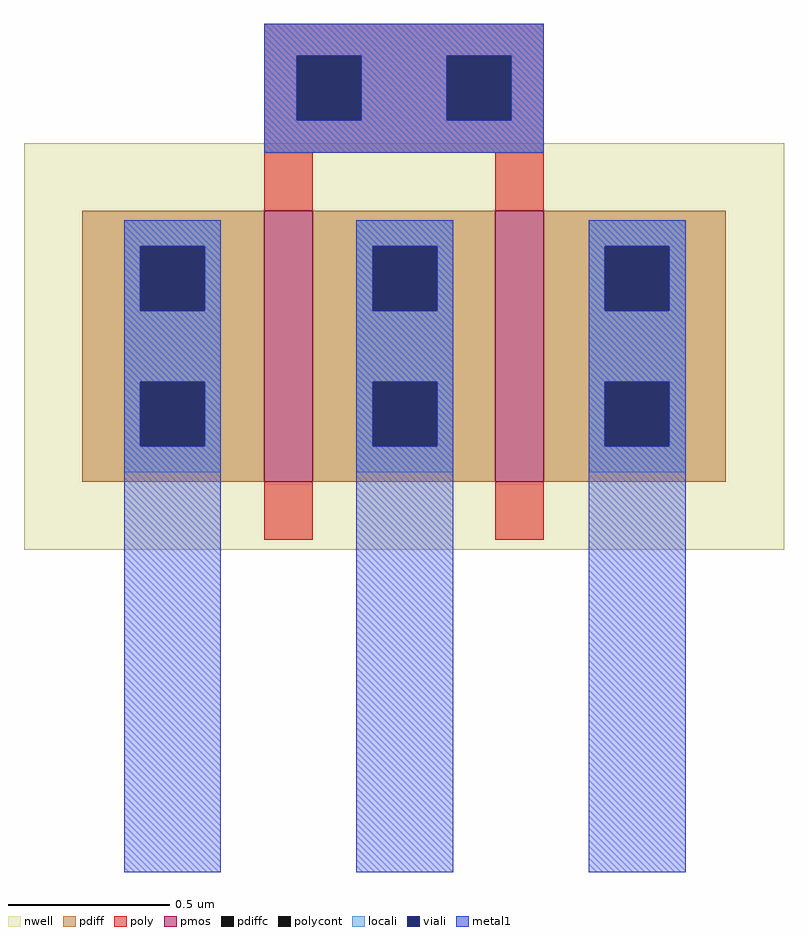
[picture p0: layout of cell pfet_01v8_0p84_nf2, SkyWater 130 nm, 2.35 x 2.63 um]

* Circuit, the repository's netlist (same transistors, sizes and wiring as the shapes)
* NGSPICE file created from pfet_01v8_0p84_nf2.ext - technology: sky130A

.subckt pfet_01v8_0p84_nf2
X0 a_143_0# a_113_n36# a_0_0# w_n36_n42# sky130_fd_pr__pfet_01v8 ad=0.237 pd=1.4 as=0.475 ps=2.81 w=0.84 l=0.15
X1 a_286_0# a_113_n36# a_143_0# w_n36_n42# sky130_fd_pr__pfet_01v8 ad=0.475 pd=2.81 as=0.237 ps=1.4 w=0.84 l=0.15
.ends

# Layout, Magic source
magic
tech sky130A
magscale 1 2
<< nwell >>
rect -92 395 379 647
<< pmos >>
rect 57 437 87 605
rect 200 437 230 605
<< pdiff >>
rect -56 583 57 605
rect -56 543 -20 583
rect 20 543 57 583
rect -56 499 57 543
rect -56 459 -20 499
rect 20 459 57 499
rect -56 437 57 459
rect 87 583 200 605
rect 87 543 124 583
rect 164 543 200 583
rect 87 499 200 543
rect 87 459 124 499
rect 164 459 200 499
rect 87 437 200 459
rect 230 583 343 605
rect 230 543 268 583
rect 308 543 343 583
rect 230 499 343 543
rect 230 459 268 499
rect 308 459 343 499
rect 230 437 343 459
<< pdiffc >>
rect -20 543 20 583
rect -20 459 20 499
rect 124 543 164 583
rect 124 459 164 499
rect 268 543 308 583
rect 268 459 308 499
<< poly >>
rect 57 701 230 721
rect 57 661 77 701
rect 117 661 170 701
rect 210 661 230 701
rect 57 641 230 661
rect 57 605 87 641
rect 200 605 230 641
rect 57 401 87 437
rect 200 401 230 437
<< polycont >>
rect 77 661 117 701
rect 170 661 210 701
<< locali >>
rect 57 701 230 721
rect 57 661 77 701
rect 117 661 170 701
rect 210 661 230 701
rect 57 641 230 661
rect -30 583 30 599
rect -30 543 -20 583
rect 20 543 30 583
rect -30 499 30 543
rect -30 459 -20 499
rect 20 459 30 499
rect -30 443 30 459
rect 114 583 174 599
rect 114 543 124 583
rect 164 543 174 583
rect 114 499 174 543
rect 114 459 124 499
rect 164 459 174 499
rect 114 443 174 459
rect 258 583 318 599
rect 258 543 268 583
rect 308 543 318 583
rect 258 499 318 543
rect 258 459 268 499
rect 308 459 318 499
rect 258 443 318 459
<< viali >>
rect 77 661 117 701
rect 170 661 210 701
rect -20 543 20 583
rect -20 459 20 499
rect 124 543 164 583
rect 124 459 164 499
rect 268 543 308 583
rect 268 459 308 499
<< metal1 >>
rect 57 701 230 721
rect 57 661 77 701
rect 117 661 170 701
rect 210 661 230 701
rect 57 641 230 661
rect -30 583 30 599
rect -30 543 -20 583
rect 20 543 30 583
rect -30 499 30 543
rect -30 459 -20 499
rect 20 459 30 499
rect -30 195 30 459
rect 114 583 174 599
rect 114 543 124 583
rect 164 543 174 583
rect 114 499 174 543
rect 114 459 124 499
rect 164 459 174 499
rect 114 195 174 459
rect 258 583 318 599
rect 258 543 268 583
rect 308 543 318 583
rect 258 499 318 543
rect 258 459 268 499
rect 308 459 318 499
rect 258 195 318 459
<< end >>
